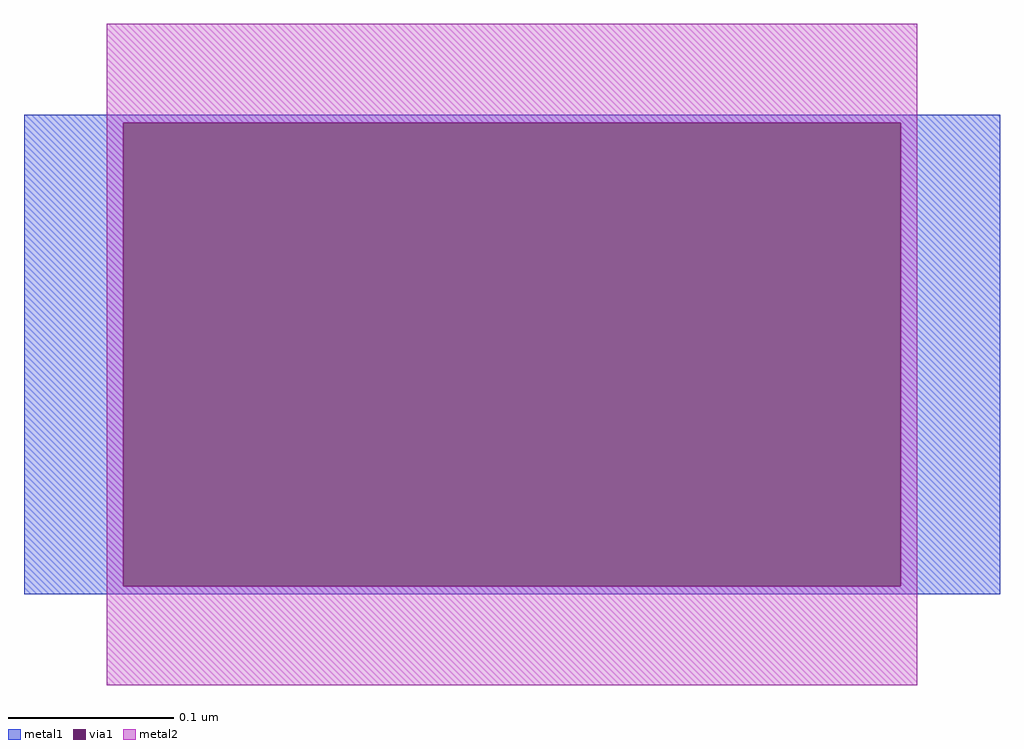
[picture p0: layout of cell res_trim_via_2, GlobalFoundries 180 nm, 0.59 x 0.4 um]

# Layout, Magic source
magic
tech gf180mcuD
magscale 1 10
<< metal1 >>
rect 4303 -7027 4421 -7026
rect 4303 -7083 4315 -7027
rect 4409 -7083 4421 -7027
rect 4303 -7084 4421 -7083
<< via1 >>
rect 4315 -7083 4409 -7027
<< metal2 >>
rect 4313 -7027 4411 -7015
rect 4313 -7083 4315 -7027
rect 4409 -7083 4411 -7027
rect 4313 -7095 4411 -7083
<< end >>
